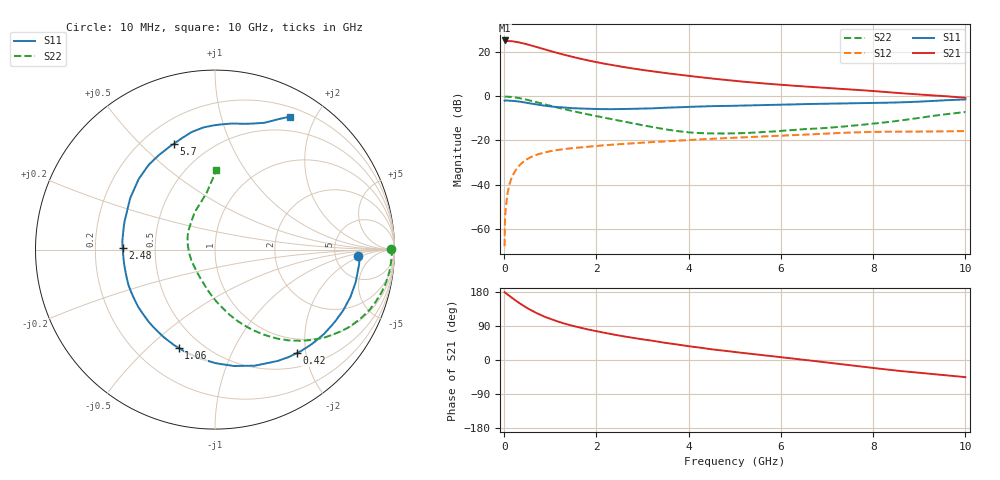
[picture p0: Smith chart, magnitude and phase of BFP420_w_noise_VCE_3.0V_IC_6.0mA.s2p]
! Infineon Technologies  Discrete & RF Semiconductors
! BFP420
! VCE =  3.0 V,  IC =  6.0 mA
! Common Emitter S-Parameters:  Jan 2016
# GHz  S  MA  R  50
!  f  S11  S21  S12  S22
! GHz  MAG  ANG  MAG  ANG  MAG  ANG  MAG  ANG
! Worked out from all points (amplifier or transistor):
!   233 points, 10 MHz to 10 GHz, reference 50 ohm
!   highest |S21| = 25.4 dB at 10 MHz (marker M1)
!   |S21| within 3 dB of that: start of sweep to 710.4 MHz
!   unconditionally stable (mu >= 1): 2.832 GHz to end of sweep
!   at 200 MHz: K = 0.10, MSG = 30.1 dB, |S12| = -35.3 dB
!   at 1.74 GHz: K = 0.66, MSG = 19.8 dB, |S12| = -23.0 dB
!   at 10 GHz: K = 1.11, MAG = 5.5 dB, |S12| = -15.8 dB
!   lowest NFmin = 0.70 dB at 900 MHz
!   S11 on the Smith chart (normalised r, x): 10 MHz: 8.64, -1.60; 420 MHz: 0.73, -1.83; 1.06 GHz: 0.38, -0.63; 2.48 GHz: 0.32, +0.01; 5.7 GHz: 0.32, +0.64; 10 GHz: 0.31, +1.67
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0.01  0.7988 -2.4  18.52 179.2  0.0004 93.5  0.982 0.3
0.02  0.8087 -2.6  18.06 178.0  0.0018 78.5  0.9853 -1.4
0.07  0.8046 -8.9  18.04 173.2  0.006 82.5  0.9819 -5.1
0.15  0.7995 -19.2  17.84 165.9  0.0131 79.5  0.9706 -10.9
0.24  0.7804 -30.5  17.28 157.7  0.0203 74.2  0.9453 -17.2
0.32  0.7615 -40.3  16.72 151.0  0.0263 69.8  0.9153 -22.6
0.42  0.7348 -51.8  15.85 143.1  0.033 64.5  0.8718 -28.7
0.54  0.6979 -64.7  14.7 134.3  0.0398 59.0  0.8143 -35.2
0.7  0.657 -80.8  13.21 123.9  0.0472 52.9  0.7386 -43.0
0.9  0.612 -98.1  11.47 113.1  0.0541 47.0  0.6517 -50.9
1.06  0.5837 -110.3  10.27 105.9  0.0584 43.5  0.5908 -56.2
1.32  0.5529 -127.6  8.671 95.7  0.0641 39.1  0.5073 -63.7
1.68  0.5287 -147.4  7.04 84.4  0.0703 35.0  0.4179 -72.3
2  0.517 -161.7  5.969 75.9  0.0752 32.4  0.3568 -79.0
2.48  0.5143 179.2  4.833 64.9  0.082 29.1  0.2827 -89.5
3.4  0.5452 151.4  3.482 47.2  0.0943 23.9  0.1859 -113.8
4.1  0.5821 135.3  2.834 34.9  0.1038 20.0  0.1499 -139.9
5.1  0.6143 119.5  2.193 19.7  0.1165 14.2  0.1457 -175.7
5.7  0.6332 111.2  1.935 11.5  0.1238 10.7  0.1563 166.3
6.8  0.6764 97.7  1.6 -3.7  0.1399 3.8  0.1868 140.2
8.4  0.7208 76.5  1.223 -26.5  0.1575 -11.1  0.2669 108.6
10  0.8511 60.5  0.927 -45.2  0.1631 -21.4  0.4408 89.1
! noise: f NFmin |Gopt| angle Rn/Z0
0.9  0.7  0.16  29  0.14
1.8  1.08  0.06  113  0.12
2.4  1.17  0.11  132  0.13
3  1.26  0.17  176  0.11
4  1.43  0.31  -139  0.13
5  1.82  0.38  -115  0.24
6  2.3  0.43  -99  0.37
